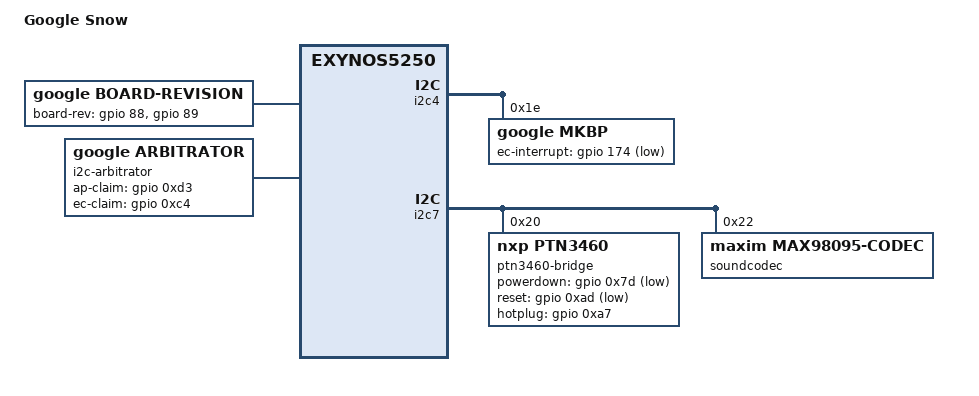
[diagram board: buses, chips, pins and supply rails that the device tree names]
/*
 * Google Snow board device tree source
 *
 * Copyright (c) 2012 Google, Inc
 *
 * This program is free software; you can redistribute it and/or modify
 * it under the terms of the GNU General Public License version 2 as
 * published by the Free Software Foundation.
*/

/dts-v1/;
/include/ "exynos5250.dtsi"
/include/ "flashmap-exynos-ro.dtsi"
/include/ "flashmap-4mb-rw.dtsi"
/include/ "chromeos-exynos.dtsi"
/include/ "cros5250-common.dtsi"

/ {
	model = "Google Snow";
	compatible = "google,snow", "google,daisy", "samsung,smdk5250",
		   "samsung,exynos5250";

	board-rev {
		compatible = "google,board-revision";
		google,board-rev-gpios = <&gpio 88 0>, <&gpio 89 0>;
	};

	i2c-arbitrator {
		compatible = "google,arbitrator";
		google,ap-claim-gpios = <&gpio 0xd3 0>;	/* F03 */
		google,ec-claim-gpios = <&gpio 0xc4 0>;	/* E04 */
		google,slew-delay-us = <10>;
		google,wait-retry-us = <2000>;

		/*
		 * TODO)sjg@chromium.org): Reduce to 50ms when EC I2C host
		 * driver bugs are fixed.
		 */
		google,wait-free-us = <500000>;
		google,arbitrate-bus = <&i2c4>;
	};

	dmc@10C00000 {
		mem-manuf = "elpida";
	};
	i2c4: i2c@12ca0000 {
		mkbp@1e {
			reg = <0x1e>;
			compatible = "google,mkbp";
			i2c-max-frequency = <100000>;
			ec-interrupt = <&gpio 174 1>;
		};
	};
	i2c7: i2c@12cd0000 {
		ptn3460-bridge@20 {
			compatible = "nxp,ptn3460";
			reg = <0x20>;
			powerdown-gpio = <&gpio 0x7d 1>;	/* Y25 */
			reset-gpio = <&gpio 0xad 1>;		/* X15 */
			hotplug-gpio = <&gpio 0xa7 0>;		/* X07 */
		};
	};

	spi@131b0000 {
		spi-max-frequency = <1000000>;
		spi-deactivate-delay = <100>;
		mkbp@0 {
			reg = <0>;
			compatible = "google,mkbp";
			spi-max-frequency = <5000000>;
			ec-interrupt = <&gpio 174 1>;
			optimise-flash-write;
			status = "disabled";
		};
	};

	chrome-ec {
		compatible = "google,chrome-ec";
		flash@8000000 {
			reg = <0x08000000 0x20000>;
			erase-value = <0xff>;
		};
	};

	dp@145b0000 {
		samsung,interface = "edp";
	};

	ehci@12110000 {
		port-enable-mask = <0x01>;
	};

	sound@12d60000 {
		samsung,codec-type = "max98095";
	};

	i2c@12cd0000 {
		soundcodec@22 {
			reg = <0x22>;
			compatible = "maxim,max98095-codec";
		};
	};
	usb@12000000 {
		usb3-pll-gpio = <&gpio 0x71 0>;	/* Y11 */
	};
};
